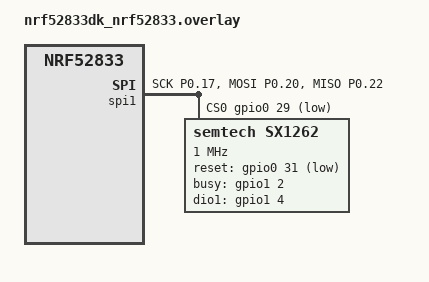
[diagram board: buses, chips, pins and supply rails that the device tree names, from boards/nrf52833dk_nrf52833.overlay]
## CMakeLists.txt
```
# SPDX-License-Identifier: Apache-2.0

cmake_minimum_required(VERSION 3.20.0)

set(BOARD environ_tracker2)
set(SHIELD environ_tracker_daughterboard_v2)

find_package(Zephyr REQUIRED HINTS $ENV{ZEPHYR_BASE})
project(lorawan)

FILE(GLOB app_sources src/*.c)
target_sources(app PRIVATE ${app_sources})
```

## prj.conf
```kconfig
CONFIG_LOG=y
CONFIG_SPI=y
CONFIG_I2C=y
CONFIG_GPIO=y
CONFIG_GPIO_SX1508B=y
CONFIG_LORA=y
# CONFIG_LORA_LOG_LEVEL_INF=y
CONFIG_LORA_SX12XX=y
CONFIG_LORA_SX126X=y
CONFIG_LORAWAN_LOG_LEVEL_DBG=y
CONFIG_LORAWAN=y
CONFIG_LORAMAC_REGION_AU915=y
CONFIG_MAIN_STACK_SIZE=2048
CONFIG_SYSTEM_WORKQUEUE_STACK_SIZE=2048

CONFIG_LOG_BUFFER_SIZE=4096

# CONFIG_LOG_BACKEND_UART=y

CONFIG_REBOOT=y
CONFIG_SHELL_LOG_BACKEND=y

CONFIG_PRINTK=y
CONFIG_SHELL=y
CONFIG_KERNEL_SHELL=y
CONFIG_INIT_STACKS=y
CONFIG_THREAD_STACK_INFO=y
CONFIG_THREAD_MONITOR=y
CONFIG_THREAD_NAME=y
CONFIG_THREAD_RUNTIME_STATS=y
CONFIG_THREAD_RUNTIME_STATS_USE_TIMING_FUNCTIONS=y
CONFIG_DEVICE_SHELL=y
CONFIG_SHELL_HISTORY=y
CONFIG_BOOT_BANNER=y
CONFIG_SHELL_BACKEND_SERIAL=y
CONFIG_CONSOLE=y
# CONFIG_POSIX_CLOCK=y
# CONFIG_DATE_SHELL=y
```

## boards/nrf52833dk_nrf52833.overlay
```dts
/ {
    aliases {
        lora0 = &lora;
    };
};

&pinctrl {
    spi1_default: spi1_default {
        group1 {
            psels = <NRF_PSEL(SPIM_SCK, 0, 17)>, 
                    <NRF_PSEL(SPIM_MOSI, 0, 20)>, 
                    <NRF_PSEL(SPIM_MISO, 0, 22)>;
        };
    };
};

&spi1 {
    compatible = "nordic,nrf-spi";
    status = "okay";
    pinctrl-0 = <&spi1_default>;
    pinctrl-names = "default", "sleep";
    cs-gpios = <&gpio0 29 GPIO_ACTIVE_LOW>;
    lora: sx1262@0 {
        compatible = "semtech,sx1262";
        reg = <0>;
        label = "SX1262";
        dio2-tx-enable;
        reset-gpios = <&gpio0 31 GPIO_ACTIVE_LOW>;
        busy-gpios = <&gpio1 2 GPIO_ACTIVE_HIGH>;
        dio1-gpios = <&gpio1 4 GPIO_ACTIVE_HIGH>;
        spi-max-frequency = <1000000>;
    };
};
```

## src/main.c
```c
/*
 * Class A LoRaWAN sample application
 *
 * Copyright (c) 2020 Manivannan Sadhasivam <mani@kernel.org>
 *
 * SPDX-License-Identifier: Apache-2.0
 */

#include <device.h>
#include <lorawan/lorawan.h>
#include <zephyr.h>

#define DEFAULT_RADIO_NODE DT_ALIAS(lora0)
BUILD_ASSERT(DT_NODE_HAS_STATUS(DEFAULT_RADIO_NODE, okay),
	     "No default LoRa radio specified in DT");
#define DEFAULT_RADIO DT_LABEL(DEFAULT_RADIO_NODE)

/* Customize based on network configuration */
#define LORAWAN_DEV_EUI     {0x71, 0xb3, 0xd5, 0x7e, 0xd0, 0x05, 0x07, 0x43}

#define LORAWAN_JOIN_EUI    {0xff, 0x00, 0x00, 0x00, 0x00, 0x00, 0x00, 0x00}

#define LORAWAN_APP_KEY     {0xad, 0x16, 0x8e, 0xb9, 0x0f, 0xc2, 0x4b, 0x7e,\
							0x97, 0x7e, 0x88, 0xd8, 0x7e, 0x04, 0xb8, 0x74}


#define DELAY K_MSEC(10000)

#define LOG_LEVEL CONFIG_DBG_LOG_LEVEL
#include <logging/log.h>
LOG_MODULE_REGISTER(lorawan_class_a, LOG_LEVEL_DBG);

char data[] = {'h', 'e', 'l', 'l', 'o', 'w', 'o', 'r', 'l', 'd'};

static void dl_callback(uint8_t port, bool data_pending,
			int16_t rssi, int8_t snr,
			uint8_t len, const uint8_t *data)
{
	LOG_INF("Port %d, Pending %d, RSSI %ddB, SNR %ddBm", port, data_pending, rssi, snr);
	if (data) {
		LOG_HEXDUMP_INF(data, len, "Payload: ");
	}
}

static void lorwan_datarate_changed(enum lorawan_datarate dr)
{
	uint8_t unused, max_size;

	lorawan_get_payload_sizes(&unused, &max_size);
	LOG_INF("New Datarate: DR_%d, Max Payload %d", dr, max_size);
}

void main(void)
{
	const struct device *lora_dev;
	struct lorawan_join_config join_cfg;
	uint8_t dev_eui[] = LORAWAN_DEV_EUI;
	uint8_t join_eui[] = LORAWAN_JOIN_EUI;
	uint8_t app_key[] = LORAWAN_APP_KEY;
	int ret;

	struct lorawan_downlink_cb downlink_cb = {
		.port = LW_RECV_PORT_ANY,
		.cb = dl_callback
	};

	lora_dev = device_get_binding(DEFAULT_RADIO);
	if (!lora_dev) {
		LOG_ERR("%s Device not found", DEFAULT_RADIO);
		return;
	}

	ret = lorawan_start();
	if (ret < 0) {
		LOG_ERR("lorawan_start failed: %d", ret);
		return;
	}

	lorawan_register_downlink_callback(&downlink_cb);
	lorawan_register_dr_changed_callback(lorwan_datarate_changed);

	join_cfg.mode = LORAWAN_ACT_OTAA;
	join_cfg.dev_eui = dev_eui;
	join_cfg.otaa.join_eui = join_eui;
	join_cfg.otaa.app_key = app_key;
	join_cfg.otaa.nwk_key = app_key;

	LOG_INF("Joining network over OTAA");
	ret = lorawan_join(&join_cfg);
	if (ret < 0) {
		LOG_ERR("lorawan_join_network failed: %d", ret);
		return;
	}

	LOG_INF("Sending data...");
	while (1) {
		ret = lorawan_send(2, data, sizeof(data),
				   LORAWAN_MSG_CONFIRMED);

		/*
		 * Note: The stack may return -EAGAIN if the provided data
		 * length exceeds the maximum possible one for the region and
		 * datarate. But since we are just sending the same data here,
		 * we'll just continue.
		 */
		if (ret == -EAGAIN) {
			LOG_ERR("lorawan_send failed: %d. Continuing...", ret);
			k_sleep(DELAY);
			continue;
		}

		if (ret < 0) {
			LOG_ERR("lorawan_send failed: %d", ret);
			return;
		}

		LOG_INF("Data sent!");
		k_sleep(DELAY);
	}
}
```
